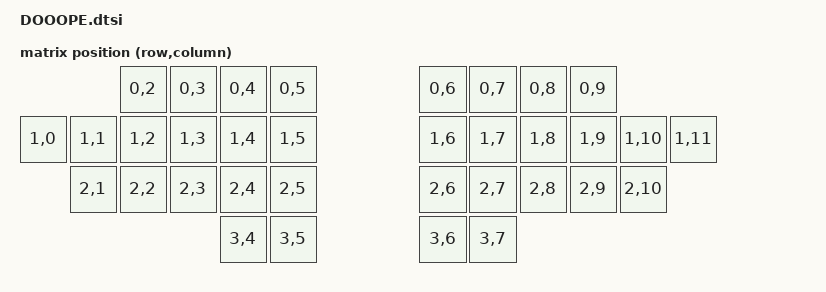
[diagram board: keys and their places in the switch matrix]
#include <dt-bindings/zmk/matrix_transform.h>

/ {
    chosen {
        zmk,kscan = &kscan0;
        zmk,matrix_transform = &default_transform;
    };

    default_transform: matrix-transform {
        compatible = "zmk,matrix-transform";
        columns = <12>;
        rows = <4>;
//               | SW02 | SW03 | SW04 | SW05 |                          | SW18 | SW19 | SW20 | SW21 |
// | SW01 | SW06 | SW07 | SW08 | SW09 | SW10 |                          | SW23 | SW24 | SW25 | SW26 | SW27 | SW22 |
//        | SW11 | SW12 | SW13 | SW14 | SW15 |                          | SW28 | SW29 | SW30 | SW31 | SW32 |
//                             | SW16 | SW17 |                          | SW33 | SW34 |

        map = <
                        RC(0,2) RC(0,3) RC(0,4) RC(0,5)                 RC(0,6) RC(0,7) RC(0,8) RC(0,9)
        RC(1,0) RC(1,1) RC(1,2) RC(1,3) RC(1,4) RC(1,5)                 RC(1,6) RC(1,7) RC(1,8) RC(1,9) RC(1,10) RC(1,11)
                RC(2,1) RC(2,2) RC(2,3) RC(2,4) RC(2,5)                 RC(2,6) RC(2,7) RC(2,8) RC(2,9) RC(2,10)
                                        RC(3,4) RC(3,5)                 RC(3,6) RC(3,7)
        >;
    };

    kscan0: kscan {
        compatible = "zmk,kscan-gpio-matrix";
        label = "KSCAN";

        diode-direction = "col2row";
        
    };

};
